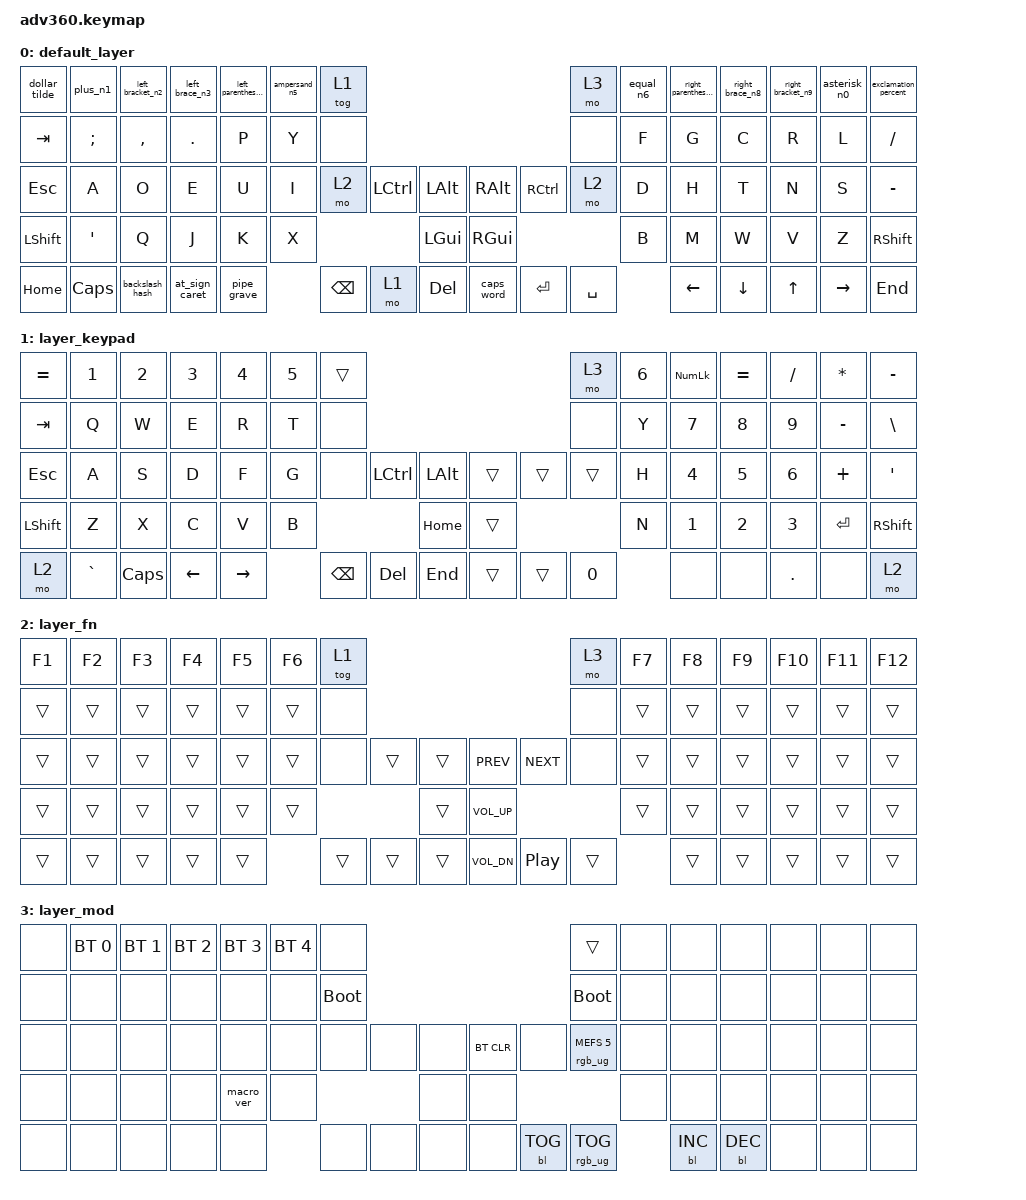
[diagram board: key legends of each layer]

/*
 * Copyright (c) 2020 The ZMK Contributors
 *
 * SPDX-License-Identifier: MIT
 */


/* THIS FILE WAS GENERATED!
 *
 * This file was generated automatically. You may or may not want to
 * edit it directly.
 */

#include <behaviors.dtsi>
#include <dt-bindings/zmk/keys.h>
#include <dt-bindings/zmk/bt.h>
#include <dt-bindings/zmk/rgb.h>
#include <dt-bindings/zmk/backlight.h>

/ {
  behaviors {
    #include "macros.dtsi"
    #include "version.dtsi"

    hm: homerow_mods {
        compatible = "zmk,behavior-hold-tap";
        label = "HOMEROW_MODS";
        #binding-cells = <2>;
        tapping-term-ms = <200>;
        quick_tap_ms = <175>;
        flavor = "tap-preferred";
        bindings = <&kp>, <&kp>;
    };

    dollar_tilde: dollar_tilde {
        compatible = "zmk,behavior-mod-morph";
        label = "dollar_tilde";
        #binding-cells = <0>;
        bindings = <&kp DOLLAR>, <&kp TILDE>;
        mods = <(MOD_LSFT|MOD_RSFT)>;
    };
    plus_n1: plus_n1 {
        compatible = "zmk,behavior-mod-morph";
        label = "plus_n1";
        #binding-cells = <0>;
        bindings = <&kp PLUS>, <&kp N1>;
        mods = <(MOD_LSFT|MOD_RSFT)>;
    };
    left_bracket_n2: left_bracket_n2 {
        compatible = "zmk,behavior-mod-morph";
        label = "left_bracket_n2";
        #binding-cells = <0>;
        bindings = <&kp LEFT_BRACKET>, <&kp N2>;
        mods = <(MOD_LSFT|MOD_RSFT)>;
    };
    left_brace_n3: left_brace_n3 {
        compatible = "zmk,behavior-mod-morph";
        label = "left_brace_n3";
        #binding-cells = <0>;
        bindings = <&kp LEFT_BRACE>, <&kp N3>;
        mods = <(MOD_LSFT|MOD_RSFT)>;
    };
    left_parenthesis_n4: left_parenthesis_n4 {
        compatible = "zmk,behavior-mod-morph";
        label = "left_parenthesis_n4";
        #binding-cells = <0>;
        bindings = <&kp LEFT_PARENTHESIS>, <&kp N4>;
        mods = <(MOD_LSFT|MOD_RSFT)>;
    };
    ampersand_n5: ampersand_n5 {
        compatible = "zmk,behavior-mod-morph";
        label = "ampersand_n5";
        #binding-cells = <0>;
        bindings = <&kp AMPERSAND>, <&kp N5>;
        mods = <(MOD_LSFT|MOD_RSFT)>;
    };
    equal_n6: equal_n6 {
        compatible = "zmk,behavior-mod-morph";
        label = "equal_n6";
        #binding-cells = <0>;
        bindings = <&kp EQUAL>, <&kp N6>;
        mods = <(MOD_LSFT|MOD_RSFT)>;
    };
    right_parenthesis_n7: right_parenthesis_n7 {
        compatible = "zmk,behavior-mod-morph";
        label = "right_parenthesis_n7";
        #binding-cells = <0>;
        bindings = <&kp RIGHT_PARENTHESIS>, <&kp N7>;
        mods = <(MOD_LSFT|MOD_RSFT)>;
    };
    right_brace_n8: right_brace_n8 {
        compatible = "zmk,behavior-mod-morph";
        label = "right_brace_n8";
        #binding-cells = <0>;
        bindings = <&kp RIGHT_BRACE>, <&kp N8>;
        mods = <(MOD_LSFT|MOD_RSFT)>;
    };
    right_bracket_n9: right_bracket_n9 {
        compatible = "zmk,behavior-mod-morph";
        label = "right_bracket_n9";
        #binding-cells = <0>;
        bindings = <&kp RIGHT_BRACKET>, <&kp N9>;
        mods = <(MOD_LSFT|MOD_RSFT)>;
    };
    asterisk_n0: asterisk_n0 {
        compatible = "zmk,behavior-mod-morph";
        label = "asterisk_n0";
        #binding-cells = <0>;
        bindings = <&kp ASTERISK>, <&kp N0>;
        mods = <(MOD_LSFT|MOD_RSFT)>;
    };
    exclamation_percent: exclamation_percent {
        compatible = "zmk,behavior-mod-morph";
        label = "exclamation_percent";
        #binding-cells = <0>;
        bindings = <&kp EXCLAMATION>, <&kp PERCENT>;
        mods = <(MOD_LSFT|MOD_RSFT)>;
    };
    pipe_grave: pipe_grave {
        compatible = "zmk,behavior-mod-morph";
        label = "pipe_grave";
        #binding-cells = <0>;
        bindings = <&kp PIPE>, <&kp GRAVE>;
        mods = <(MOD_LSFT|MOD_RSFT)>;
    };
    at_sign_caret: at_sign_caret {
        compatible = "zmk,behavior-mod-morph";
        label = "at_sign_caret";
        #binding-cells = <0>;
        bindings = <&kp AT_SIGN>, <&kp CARET>;
        mods = <(MOD_LSFT|MOD_RSFT)>;
    };
    backslash_hash: backslash_hash {
        compatible = "zmk,behavior-mod-morph";
        label = "backslash_hash";
        #binding-cells = <0>;
        bindings = <&kp BACKSLASH>, <&kp HASH>;
        mods = <(MOD_LSFT|MOD_RSFT)>;
    };
  };

    keymap {
        compatible = "zmk,keymap";

        default_layer {
            bindings = <
                &dollar_tilde    &plus_n1   &left_bracket_n2   &left_brace_n3      &left_parenthesis_n4   &ampersand_n5       &tog 1                                                      &mo 3       &equal_n6   &right_parenthesis_n7   &right_brace_n8   &right_bracket_n9     &asterisk_n0   &exclamation_percent
                &kp TAB          &kp SEMI   &kp COMMA          &kp DOT             &kp P                  &kp Y               &none                                                       &none       &kp F       &kp G                   &kp C             &kp R                 &kp L          &kp SLASH
                &kp ESC          &kp A      &kp O              &kp E               &kp U                  &kp I               &mo 2      &kp LCTRL   &kp LALT     &kp RALT     &kp RCTRL  &mo 2       &kp D       &kp H                   &kp T             &kp N                 &kp S          &kp MINUS
                &kp LSHIFT       &kp SQT    &kp Q              &kp J               &kp K                  &kp X                                      &kp LGUI     &kp RGUI                            &kp B       &kp M                   &kp W             &kp V                 &kp Z          &kp RSHIFT
                &kp HOME         &kp CAPS   &backslash_hash    &at_sign_caret      &pipe_grave                                &kp BSPC   &mo 1       &kp DEL      &caps_word   &kp ENTER  &kp SPACE               &kp LEFT                &kp DOWN          &kp UP                &kp RIGHT      &kp END
            >;
        };

        layer_keypad {
            bindings = <
                &kp EQUAL    &kp N1     &kp N2    &kp N3    &kp N4     &kp N5              &trans                                                                        &mo 3    &kp N6  &kp KP_NUM  &kp EQUAL  &kp SLASH   &kp STAR      &kp MINUS
                &kp TAB      &kp Q      &kp W     &kp E     &kp R      &kp T               &none                                                                         &none    &kp Y   &kp N7      &kp N8     &kp N9      &kp MINUS     &kp BSLH
                &kp ESC      &kp A      &kp S     &kp D     &kp F      &kp G               &none       &kp LCTRL  &kp LALT                 &trans   &trans     &trans             &kp H   &kp N4      &kp N5     &kp N6      &kp PLUS      &kp SQT
                &kp LSHFT    &kp Z      &kp X     &kp C     &kp V      &kp B                                      &kp HOME                 &trans                                 &kp N   &kp N1      &kp N2     &kp N3      &kp ENTER     &kp RSHFT
                &mo 2        &kp GRAVE  &kp CAPS  &kp LEFT  &kp RIGHT                      &kp BSPC    &kp DEL    &kp END                  &trans  &trans      &kp N0                     &none       &none      &kp DOT     &none         &mo 2
            >;
        };

        layer_fn {
            bindings = <
               &kp F1  &kp F2  &kp F3  &kp F4  &kp F5  &kp F6            &tog 1                                                                  &mo 3 &kp F7  &kp F8  &kp F9  &kp F10  &kp F11  &kp F12
               &trans  &trans  &trans  &trans  &trans  &trans             &none                                                                  &none  &trans  &trans  &trans   &trans   &trans   &trans
               &trans  &trans  &trans  &trans  &trans  &trans             &none  &trans  &trans                  &kp C_PREV  &kp C_NEXT          &none  &trans  &trans  &trans   &trans   &trans   &trans
               &trans  &trans  &trans  &trans  &trans  &trans                            &trans                  &kp C_VOL_UP                           &trans  &trans  &trans   &trans   &trans   &trans
               &trans  &trans  &trans  &trans  &trans                    &trans  &trans  &trans                  &kp C_VOL_DN  &kp C_PLAY_PAUSE         &trans  &trans  &trans   &trans   &trans   &trans
            >;
        };

        layer_mod {
            bindings = <
               &none  &bt BT_SEL 0  &bt BT_SEL 1  &bt BT_SEL 2  &bt BT_SEL 3  &bt BT_SEL 4                  &none                                                                                    &trans   &none       &none       &none   &none   &none   &none
               &none         &none         &none         &none         &none         &none            &bootloader                                                                               &bootloader   &none       &none       &none   &none   &none   &none
               &none         &none         &none         &none         &none         &none                  &none             &none   &none                  &bt BT_CLR       &none  &rgb_ug RGB_MEFS_CMD 5   &none       &none       &none   &none   &none   &none
               &none         &none         &none         &none    &macro_ver         &none                                            &none                       &none                                       &none       &none       &none   &none   &none   &none
               &none         &none         &none         &none    &none                           &none  &none   &none                       &none  &bl BL_TOG         &rgb_ug RGB_TOG          &bl BL_INC  &bl BL_DEC   &none   &none   &none
            >;
        };
    };
};
